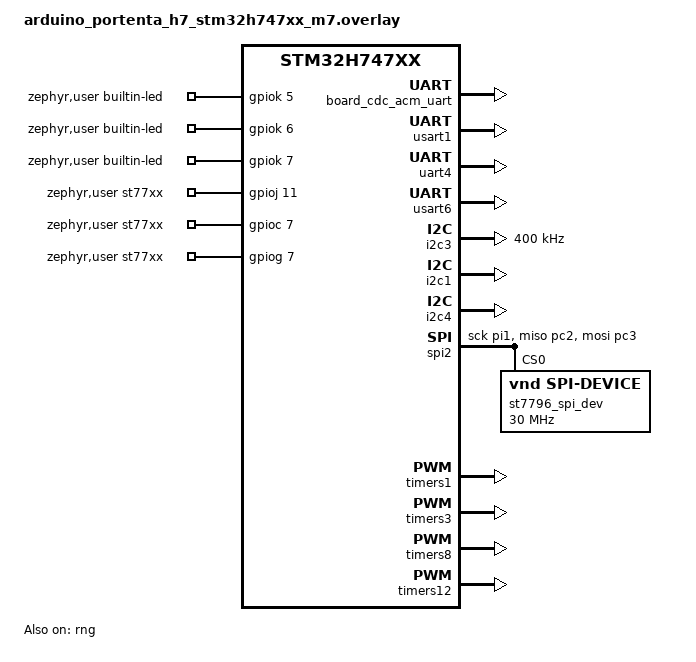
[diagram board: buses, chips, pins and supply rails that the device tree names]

/* This is copy of the Arduino setup */
&board_cdc_acm_uart {
	status = "okay";
};

&usart1 {
	status = "okay";
};

&uart4 {
	status = "okay";
};

&usart6 {
	status = "okay";
};

&i2c3 {
	status = "okay";
	clock-frequency = <I2C_BITRATE_FAST>;

};

&i2c1 {
	status = "okay";
};

&i2c4 {
	status = "okay";
};

&spi2 {
	status = "okay";
	pinctrl-0 = <&spi2_sck_pi1
		     &spi2_miso_pc2 &spi2_mosi_pc3>;
	pinctrl-names = "default";
	/* added for sketch */
	st7796_spi_dev: ST7796_spi_dev@0 {
		status = "okay";
		compatible = "vnd,spi-device";
		reg = <0>;
		spi-max-frequency = <30000000>;
	};

};

&timers1 {
	status = "okay";
	st,prescaler = <0>;

	pwm1: pwm {
		status = "okay";
		pinctrl-0 = <&tim1_ch1_pa8 &tim1_ch2_pj11>;
		pinctrl-names = "default";
	};
};

&timers3 {
	status = "okay";
	st,prescaler = <100>;

	pwm3: pwm {
		status = "okay";
		pinctrl-0 = <&tim3_ch1_pc6 &tim3_ch2_pc7>;
		pinctrl-names = "default";
	};
};

&timers8 {
	status = "okay";
	st,prescaler = <100>;

	pwm8: pwm {
		status = "okay";
		pinctrl-0 = <&tim8_ch3n_ph15 &tim8_ch2_pj10 &tim8_ch2n_pj7>;
		pinctrl-names = "default";
	};
};

&timers12 {
	status = "okay";
	st,prescaler = <100>;

	pwm12: pwm {
		status = "okay";
		pinctrl-0 = <&tim12_ch1_ph6>;
		pinctrl-names = "default";
	};
};

&pwm1 {
	/* Camera source clock */
};

&rng {
	status = "okay";
};

&dmamux1 {
	status = "okay";
};

&dma1 {
	status = "okay";
};


/ {
	chosen {
		zephyr,console = &usart6;
		zephyr,shell-uart = &usart6;
		zephyr,cdc-acm-uart0 = &usart6;
	};

};


/ {
	zephyr,user {
		builtin-led-gpios = <&gpiok 5 0>,
				    <&gpiok 6 0>,
				    <&gpiok 7 0>;

	};
};

/* This apps setup */
/ {

	zephyr,user {
		st77xx-gpios = <&gpioj 11 GPIO_ACTIVE_HIGH>,	/* CS D2 */
						<&gpioc 7 GPIO_ACTIVE_HIGH>,	/* DC D4 */
						<&gpiog 7 GPIO_ACTIVE_HIGH>;	/* RST D3 */
						/* <&gpio1 30 GPIO_ACTIVE_LOW>;	touch cs Pin 26 */

	};
	
	chosen {


	};
};
